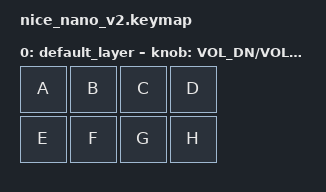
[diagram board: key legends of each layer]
#include <behaviors.dtsi>
#include <dt-bindings/zmk/keys.h>

/ {
    keymap {
        compatible = "zmk,keymap";

        default_layer {
            bindings = <
                &kp A &kp B &kp C &kp D
                &kp E &kp F &kp G &kp H
            >;
            sensor-bindings = <&inc_dec_kp C_VOL_DN C_VOL_UP>;
        };
    };
};
